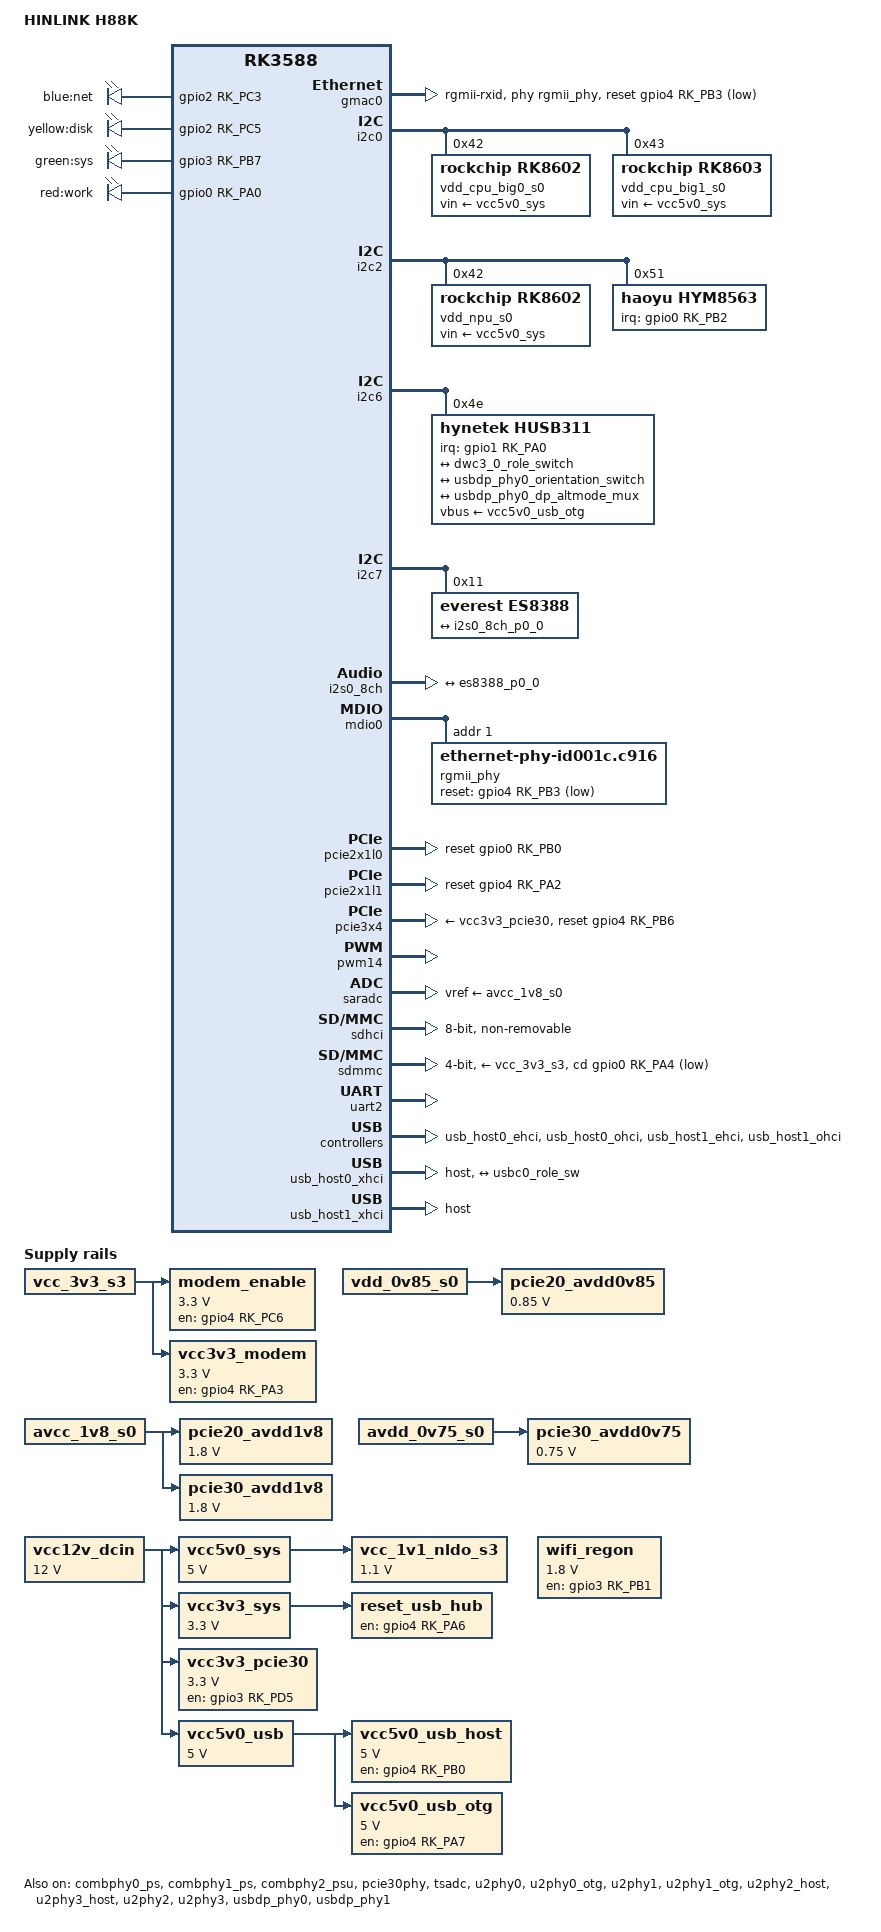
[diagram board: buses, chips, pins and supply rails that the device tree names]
// SPDX-License-Identifier: (GPL-2.0+ OR MIT)
/*
 * Copyright (c) 2022 Rockchip Electronics Co., Ltd.
 *
 */

/dts-v1/;

#include <dt-bindings/gpio/gpio.h>
#include <dt-bindings/input/input.h>
#include <dt-bindings/pinctrl/rockchip.h>
#include <dt-bindings/usb/pd.h>
#include <rockchip/rk3588.dtsi>
#include "rk3588-rk806-single.dtsi"
#include "rk3588s-ip.dtsi"
#include "rk3588s-ip-supply.dtsi"

/ {
	model = "HINLINK H88K";
	compatible = "hinlink,h88k", "rockchip,rk3588";

	aliases {
		led-boot = &led_green;
		led-failsafe = &led_green;
		led-running = &led_green;
		led-upgrade = &led_red;
	};

	chosen {
		stdout-path = "serial2:1500000n8";
	};

	leds {
		compatible = "gpio-leds";
		pinctrl-names = "default";
		pinctrl-0 = <&led_net_en>, <&led_sata_en>,
			    <&led_user_en>, <&led_work_en>;

		net {
			label = "blue:net";
			gpios = <&gpio2 RK_PC3 GPIO_ACTIVE_HIGH>;
		};

		disk {
			label = "yellow:disk";
			gpios = <&gpio2 RK_PC5 GPIO_ACTIVE_HIGH>;
		};

		led_green: sys {
			label = "green:sys";
			gpios = <&gpio3 RK_PB7 GPIO_ACTIVE_HIGH>;
			linux,default-trigger = "heartbeat";
		};

		led_red: work {
			label = "red:work";
			gpios = <&gpio0 RK_PA0 GPIO_ACTIVE_HIGH>;
		};
	};

	/* it's modem reset pin */
	modem_enable: modem-enable {
		compatible = "regulator-fixed";
		enable-active-high;
		regulator-always-on;
		regulator-boot-on;
		gpios = <&gpio4 RK_PC6 GPIO_ACTIVE_HIGH>;
		regulator-min-microvolt = <3300000>;
		regulator-max-microvolt = <3300000>;
		regulator-name = "modem-enable";
		vin-supply = <&vcc_3v3_s3>;
		startup-delay-us = <2000000>;
		pinctrl-names = "default";
		pinctrl-0 = <&modem_reset_en>;
	};

	pcie20_avdd0v85: pcie20-avdd0v85 {
		compatible = "regulator-fixed";
		regulator-always-on;
		regulator-boot-on;
		regulator-min-microvolt = <850000>;
		regulator-max-microvolt = <850000>;
		regulator-name = "pcie20_avdd0v85";
		vin-supply = <&vdd_0v85_s0>;
	};

	pcie20_avdd1v8: pcie20-avdd1v8 {
		compatible = "regulator-fixed";
		regulator-always-on;
		regulator-boot-on;
		regulator-min-microvolt = <1800000>;
		regulator-max-microvolt = <1800000>;
		regulator-name = "pcie20_avdd1v8";
		vin-supply = <&avcc_1v8_s0>;
	};

	pcie30_avdd0v75: pcie30-avdd0v75 {
		compatible = "regulator-fixed";
		regulator-always-on;
		regulator-boot-on;
		regulator-min-microvolt = <750000>;
		regulator-max-microvolt = <750000>;
		regulator-name = "pcie30_avdd0v75";
		vin-supply = <&avdd_0v75_s0>;
	};

	pcie30_avdd1v8: pcie30-avdd1v8 {
		compatible = "regulator-fixed";
		regulator-always-on;
		regulator-boot-on;
		regulator-min-microvolt = <1800000>;
		regulator-max-microvolt = <1800000>;
		regulator-name = "pcie30_avdd1v8";
		vin-supply = <&avcc_1v8_s0>;
	};

	vcc12v_dcin: vcc12v-dcin {
		compatible = "regulator-fixed";
		regulator-always-on;
		regulator-boot-on;
		regulator-min-microvolt = <12000000>;
		regulator-max-microvolt = <12000000>;
		regulator-name = "vcc12v_dcin";
	};

	vcc5v0_sys: vcc5v0-sys {
		compatible = "regulator-fixed";
		regulator-always-on;
		regulator-boot-on;
		regulator-min-microvolt = <5000000>;
		regulator-max-microvolt = <5000000>;
		regulator-name = "vcc5v0_sys";
		vin-supply = <&vcc12v_dcin>;
	};

	vcc3v3_sys: vcc3v3-sys {
		compatible = "regulator-fixed";
		regulator-always-on;
		regulator-boot-on;
		regulator-min-microvolt = <3300000>;
		regulator-max-microvolt = <3300000>;
		regulator-name = "vcc3v3_sys";
		vin-supply = <&vcc12v_dcin>;
	};

	vcc_1v1_nldo_s3: vcc-1v1-nldo-s3 {
		compatible = "regulator-fixed";
		regulator-always-on;
		regulator-boot-on;
		regulator-min-microvolt = <1100000>;
		regulator-max-microvolt = <1100000>;
		regulator-name = "vcc_1v1_nldo_s3";
		vin-supply = <&vcc5v0_sys>;
	};

	vcc3v3_pcie30: vcc3v3-pcie30 {
		compatible = "regulator-fixed";
		enable-active-high;
		gpios = <&gpio3 RK_PD5 GPIO_ACTIVE_HIGH>;
		regulator-min-microvolt = <3300000>;
		regulator-max-microvolt = <3300000>;
		regulator-name = "vcc3v3_pcie30";
		startup-delay-us = <5000>;
		vin-supply = <&vcc12v_dcin>;
	};

	vcc3v3_modem: vcc3v3-modem {
		compatible = "regulator-fixed";
		enable-active-high;
		regulator-always-on;
		regulator-boot-on;
		gpios = <&gpio4 RK_PA3 GPIO_ACTIVE_HIGH>;
		regulator-min-microvolt = <3300000>;
		regulator-max-microvolt = <3300000>;
		regulator-name = "vcc3v3_modem";
		pinctrl-names = "default";
		pinctrl-0 = <&modem_power_en>;
		vin-supply = <&vcc_3v3_s3>;
	};

	vcc5v0_usb: vcc5v0-usb {
		compatible = "regulator-fixed";
		regulator-always-on;
		regulator-boot-on;
		regulator-min-microvolt = <5000000>;
		regulator-max-microvolt = <5000000>;
		regulator-name = "vcc5v0_usb";
		vin-supply = <&vcc12v_dcin>;
	};

	vcc5v0_usb_host: vcc5v0-usb-host {
		compatible = "regulator-fixed";
		enable-active-high;
		gpio = <&gpio4 RK_PB0 GPIO_ACTIVE_HIGH>;
		pinctrl-names = "default";
		pinctrl-0 = <&vcc5v0_usb_host_en>;
		regulator-min-microvolt = <5000000>;
		regulator-max-microvolt = <5000000>;
		regulator-name = "vcc5v0_usb_host";
		vin-supply = <&vcc5v0_usb>;
	};

	reset_usb_hub: reset-usb-hub {
		compatible = "regulator-fixed";
		enable-active-high;
		gpio = <&gpio4 RK_PA6 GPIO_ACTIVE_HIGH>;
		pinctrl-names = "default";
		pinctrl-0 = <&reset_usb_hub_en>;
		regulator-name = "reset_usb_hub";
		regulator-boot-on;
		regulator-always-on;
		startup-delay-us = <5000>;
		vin-supply = <&vcc3v3_sys>;
	};

	vcc5v0_usb_otg: vcc5v0-usb-otg {
		compatible = "regulator-fixed";
		enable-active-high;
		gpio = <&gpio4 RK_PA7 GPIO_ACTIVE_HIGH>;
		pinctrl-names = "default";
		pinctrl-0 = <&vcc5v0_usb_otg_en>;
		regulator-min-microvolt = <5000000>;
		regulator-max-microvolt = <5000000>;
		regulator-name = "vcc5v0_usb_otg";
		vin-supply = <&vcc5v0_usb>;
	};

	wifi_regon: wifi-regon {
		compatible = "regulator-fixed";
		enable-active-high;
		gpio = <&gpio3 RK_PB1 GPIO_ACTIVE_HIGH>;
		regulator-boot-on;
		regulator-always-on;
		regulator-min-microvolt = <1800000>;
		regulator-max-microvolt = <1800000>;
		regulator-name = "wifi_regon";
		startup-delay-us = <5000>;
	};
};

&combphy0_ps {
	status = "okay";
};

&combphy1_ps {
	status = "okay";
};

&combphy2_psu {
	status = "okay";
};

&cpu_l0 {
	cpu-supply = <&vdd_cpu_lit_s0>;
};

&cpu_l1 {
	cpu-supply = <&vdd_cpu_lit_s0>;
};

&cpu_l2 {
	cpu-supply = <&vdd_cpu_lit_s0>;
};

&cpu_l3 {
	cpu-supply = <&vdd_cpu_lit_s0>;
};

&cpu_b0 {
	cpu-supply = <&vdd_cpu_big0_s0>;
};

&cpu_b1 {
	cpu-supply = <&vdd_cpu_big0_s0>;
};

&cpu_b2 {
	cpu-supply = <&vdd_cpu_big1_s0>;
};

&cpu_b3 {
	cpu-supply = <&vdd_cpu_big1_s0>;
};

&gmac0 {
	snps,reset-gpio = <&gpio4 RK_PB3 GPIO_ACTIVE_LOW>;
	snps,reset-active-low;
	/* Reset time is 15ms, 50ms for rtl8211f */
	snps,reset-delays-us = <0 20000 100000>;

	clock_in_out = "output";
	phy-handle = <&rgmii_phy>;
	phy-mode = "rgmii-rxid";
	pinctrl-0 = <&gmac0_miim
		     &gmac0_tx_bus2
		     &gmac0_rx_bus2
		     &gmac0_rgmii_clk
		     &gmac0_rgmii_bus>;
	pinctrl-names = "default";
	rx_delay = <0x00>;
	tx_delay = <0x44>;
	status = "okay";
};

&i2c0 {
	pinctrl-names = "default";
	pinctrl-0 = <&i2c0m2_xfer>;
	status = "okay";

	vdd_cpu_big0_s0: regulator@42 {
		compatible = "rockchip,rk8602";
		reg = <0x42>;
		fcs,suspend-voltage-selector = <1>;
		regulator-name = "vdd_cpu_big0_s0";
		regulator-always-on;
		regulator-boot-on;
		regulator-min-microvolt = <550000>;
		regulator-max-microvolt = <1050000>;
		regulator-ramp-delay = <2300>;
		vin-supply = <&vcc5v0_sys>;

		regulator-state-mem {
			regulator-off-in-suspend;
		};
	};

	vdd_cpu_big1_s0: regulator@43 {
		compatible = "rockchip,rk8603", "rockchip,rk8602";
		reg = <0x43>;
		fcs,suspend-voltage-selector = <1>;
		regulator-name = "vdd_cpu_big1_s0";
		regulator-always-on;
		regulator-boot-on;
		regulator-min-microvolt = <550000>;
		regulator-max-microvolt = <1050000>;
		regulator-ramp-delay = <2300>;
		vin-supply = <&vcc5v0_sys>;

		regulator-state-mem {
			regulator-off-in-suspend;
		};
	};
};

&i2c2 {
	status = "okay";

	vdd_npu_s0: regulator@42 {
		compatible = "rockchip,rk8602";
		reg = <0x42>;
		fcs,suspend-voltage-selector = <1>;
		regulator-name = "vdd_npu_s0";
		regulator-always-on;
		regulator-boot-on;
		regulator-min-microvolt = <550000>;
		regulator-max-microvolt = <950000>;
		regulator-ramp-delay = <2300>;
		vin-supply = <&vcc5v0_sys>;

		regulator-state-mem {
			regulator-off-in-suspend;
		};
	};

	hym8563: rtc@51 {
		compatible = "haoyu,hym8563";
		reg = <0x51>;
		#clock-cells = <0>;
		clock-output-names = "hym8563";
		interrupt-parent = <&gpio0>;
		interrupts = <RK_PB2 IRQ_TYPE_LEVEL_LOW>;
		pinctrl-names = "default";
		pinctrl-0 = <&rtc_int>;
		wakeup-source;
	};
};

&i2c6 {
	status = "okay";

	husb311@4e {
		compatible = "hynetek,husb311";
		reg = <0x4e>;
		interrupt-parent = <&gpio1>;
		interrupts = <RK_PA0 IRQ_TYPE_LEVEL_LOW>;
		pinctrl-names = "default";
		pinctrl-0 = <&usbc0_int>;
		vbus-supply = <&vcc5v0_usb_otg>;

		ports {
			#address-cells = <1>;
			#size-cells = <0>;

			port@0 {
				reg = <0>;
				usbc0_role_sw: endpoint@0 {
					remote-endpoint = <&dwc3_0_role_switch>;
				};
			};
		};

		connector {
			compatible = "usb-c-connector";
			label = "USB-C";
			data-role = "dual";
			power-role = "dual";
			try-power-role = "sink";
			op-sink-microwatt = <1000000>;
			sink-pdos =
				<PDO_FIXED(5000, 1000, PDO_FIXED_USB_COMM)>;
			source-pdos =
				<PDO_FIXED(5000, 3000, PDO_FIXED_USB_COMM)>;

			altmodes {
				#address-cells = <1>;
				#size-cells = <0>;

				altmode@0 {
					reg = <0>;
					svid = <0xff01>;
					vdo = <0xffffffff>;
				};
			};

			ports {
				#address-cells = <1>;
				#size-cells = <0>;

				port@0 {
					reg = <0>;
					usbc0_orien_sw: endpoint {
						remote-endpoint = <&usbdp_phy0_orientation_switch>;
					};
				};

				port@1 {
					reg = <1>;
					dp_altmode_mux: endpoint {
						remote-endpoint = <&usbdp_phy0_dp_altmode_mux>;
					};
				};
			};
		};
	};

};

&i2c7 {
	status = "okay";

	es8388: es8388@11 {
		compatible = "everest,es8388", "everest,es8323";
		reg = <0x11>;
		assigned-clocks = <&cru I2S0_8CH_MCLKOUT>;
		assigned-clock-rates = <12288000>;
		clocks = <&cru I2S0_8CH_MCLKOUT>;
		clock-names = "mclk";
		#sound-dai-cells = <0>;

		port {
			es8388_p0_0: endpoint {
				remote-endpoint = <&i2s0_8ch_p0_0>;
			};
		};
	};
};

&i2s0_8ch {
	pinctrl-names = "default";
	pinctrl-0 = <&i2s0_lrck
		     &i2s0_mclk
		     &i2s0_sclk
		     &i2s0_sdi0
		     &i2s0_sdo0>;
	status = "okay";

	i2s0_8ch_p0: port {
		i2s0_8ch_p0_0: endpoint {
			dai-format = "i2s";
			mclk-fs = <256>;
			remote-endpoint = <&es8388_p0_0>;
		};
	};
};

&mdio0 {
	rgmii_phy: ethernet-phy@1 {
		/* RTL8211F */
		compatible = "ethernet-phy-id001c.c916";
		reg = <0x1>;
		pinctrl-names = "default";
		pinctrl-0 = <&rtl8211f_rst>;
		reset-assert-us = <20000>;
		reset-deassert-us = <100000>;
		reset-gpios = <&gpio4 RK_PB3 GPIO_ACTIVE_LOW>;
	};
};

&pcie2x1l0 {
	// wifi
	reset-gpios = <&gpio0 RK_PB0 GPIO_ACTIVE_HIGH>;
	status = "okay";
};

&pcie2x1l1 {
	// rtl8125
	reset-gpios = <&gpio4 RK_PA2 GPIO_ACTIVE_HIGH>;
	status = "okay";
};

&pcie30phy {
	status = "okay";
};

&pcie3x4 {
	reset-gpios = <&gpio4 RK_PB6 GPIO_ACTIVE_HIGH>;
	vpcie3v3-supply = <&vcc3v3_pcie30>;
	status = "okay";
};

&pinctrl {
	rtl8211f {
		rtl8211f_rst: rtl8211f-rst {
			rockchip,pins = <4 RK_PB3 RK_FUNC_GPIO &pcfg_pull_none>;
		};

	};

	leds {
		led_net_en: led_net_en {
			rockchip,pins = <2 RK_PC3 RK_FUNC_GPIO &pcfg_pull_none>;
		};

		led_sata_en: led_sata_en {
			rockchip,pins = <2 RK_PC5 RK_FUNC_GPIO &pcfg_pull_none>;
		};

		led_user_en: led_user_en {
			rockchip,pins = <3 RK_PB7 RK_FUNC_GPIO &pcfg_pull_none>;
		};

		led_work_en: led_work_en {
			rockchip,pins = <0 RK_PA0 RK_FUNC_GPIO &pcfg_pull_none>;
		};
	};

	modem {
		modem_power_en: modem-power-en {
			rockchip,pins = <4 RK_PA3 RK_FUNC_GPIO &pcfg_pull_none>;
		};

		modem_reset_en: modem-reset-en {
			rockchip,pins = <4 RK_PC6 RK_FUNC_GPIO &pcfg_pull_none>;
		};
	};

	rtc {
		rtc_int: rtc-int {
			rockchip,pins = <0 RK_PB2 RK_FUNC_GPIO &pcfg_pull_up>;
		};
	};

	usb {
		vcc5v0_usb_host_en: vcc5v0_usb_host_en {
			rockchip,pins = <4 RK_PB0 RK_FUNC_GPIO &pcfg_pull_none>;
		};

		reset_usb_hub_en: reset_usb_hub_en {
			rockchip,pins = <4 RK_PA6 RK_FUNC_GPIO &pcfg_output_low>;
		};

		vcc5v0_usb_otg_en: vcc5v0_usb_otg_en {
			rockchip,pins = <4 RK_PA7 RK_FUNC_GPIO &pcfg_pull_none>;
		};
	};

	usb-typec {
		usbc0_int: usbc0-int {
			rockchip,pins = <1 RK_PA0 RK_FUNC_GPIO &pcfg_pull_up>;
		};
	};
};

&pwm14 {
	status = "okay";
};

&saradc {
	vref-supply = <&avcc_1v8_s0>;
	status = "okay";
};

&sdhci {
	bus-width = <8>;
	no-sdio;
	no-sd;
	non-removable;
	max-frequency = <200000000>;
	mmc-hs400-1_8v;
	mmc-hs400-enhanced-strobe;
	status = "okay";
};

&sdmmc {
	bus-width = <4>;
	cap-mmc-highspeed;
	cap-sd-highspeed;
	disable-wp;
	no-mmc;
	no-sdio;
	sd-uhs-sdr50;
	vmmc-supply = <&vcc_3v3_s3>;
	vqmmc-supply = <&vccio_sd_s0>;
	cd-gpios = <&gpio0 RK_PA4 GPIO_ACTIVE_LOW>;
	status = "okay";
};

&tsadc {
	status = "okay";
};

&uart2 {
	pinctrl-0 = <&uart2m0_xfer>;
	status = "okay";
};

&u2phy0 {
	status = "okay";
};

&u2phy0_otg {
	vbus-supply = <&vcc5v0_usb_otg>;
	status = "okay";
};

&u2phy1 {
	status = "okay";
};

&u2phy1_otg {
	phy-supply = <&vcc5v0_usb_host>;
	status = "okay";
};

&u2phy2_host {
	status = "okay";
};

&u2phy3_host {
	status = "okay";
};

&u2phy2 {
	status = "okay";
};

&u2phy3 {
	status = "okay";
};

&usbdp_phy0 {
	mode-switch;
	orientation-switch;
	sbu1-dc-gpios = <&gpio0 RK_PC6 GPIO_ACTIVE_HIGH>;
	sbu2-dc-gpios = <&gpio0 RK_PD3 GPIO_ACTIVE_HIGH>;
	status = "okay";

	port {
		#address-cells = <1>;
		#size-cells = <0>;

		usbdp_phy0_orientation_switch: endpoint@0 {
			reg = <0>;
			remote-endpoint = <&usbc0_orien_sw>;
		};

		usbdp_phy0_dp_altmode_mux: endpoint@1 {
			reg = <1>;
			remote-endpoint = <&dp_altmode_mux>;
		};
	};
};

&usbdp_phy1 {
	status = "okay";
};

&usb_host0_ehci {
	status = "okay";
};

&usb_host0_ohci {
	status = "okay";
};

&usb_host0_xhci {
	dr_mode = "host";
	status = "okay";
	usb-role-switch;

	port {
		dwc3_0_role_switch: endpoint {
			remote-endpoint = <&usbc0_role_sw>;
		};
	};
};

&usb_host1_xhci {
	dr_mode = "host";
	status = "okay";
};

&usb_host1_ehci {
	status = "okay";
};

&usb_host1_ohci {
	status = "okay";
};
